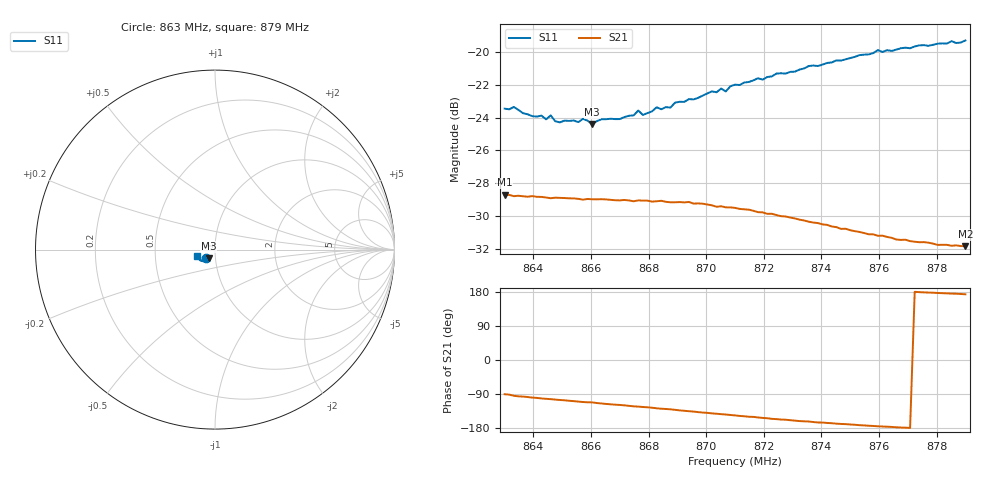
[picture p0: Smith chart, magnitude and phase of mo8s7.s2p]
# HZ S RI R 50
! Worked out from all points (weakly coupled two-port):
!   101 points, 863 MHz to 879 MHz, reference 50 ohm
!   highest |S21| = -28.70 dB at 863 MHz (marker M1); lowest = -31.8 dB at 879 MHz (marker M2)
!   lowest |S11| = -24.4 dB at 866.04 MHz (marker M3), VSWR 1.13, Z = 46.3 - j4.5 ohm
!   |S11| at or under -10 dB: start of sweep to end of sweep
!   S12 and S22 are empty: the file has one direction only
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8.63e8  -0.0476 -0.0476  -0.000221 -0.0367  0 0  0 0
8.6332e8  -0.0501 -0.046  -0.0028 -0.0362  0 0  0 0
8.6364e8  -0.0467 -0.0454  -0.00411 -0.0361  0 0  0 0
8.6444e8  -0.0427 -0.0455  -0.00775 -0.0352  0 0  0 0
8.646e8  -0.0453 -0.0454  -0.00824 -0.0349  0 0  0 0
8.6492e8  -0.0411 -0.0451  -0.0096 -0.0346  0 0  0 0
8.6556e8  -0.0388 -0.0473  -0.0121 -0.0336  0 0  0 0
8.6572e8  -0.0387 -0.0492  -0.0126 -0.0331  0 0  0 0
8.6604e8  -0.036 -0.0484  -0.0132 -0.033  0 0  0 0
8.6636e8  -0.0383 -0.0493  -0.0148 -0.0323  0 0  0 0
8.6748e8  -0.0358 -0.0532  -0.0187 -0.0296  0 0  0 0
8.6764e8  -0.0377 -0.0547  -0.0192 -0.0296  0 0  0 0
8.678e8  -0.0361 -0.0533  -0.0197 -0.0292  0 0  0 0
8.6828e8  -0.0371 -0.0569  -0.0213 -0.0278  0 0  0 0
8.6844e8  -0.0363 -0.0563  -0.0219 -0.0275  0 0  0 0
8.7052e8  -0.044 -0.0638  -0.027 -0.0204  0 0  0 0
8.7068e8  -0.0427 -0.0628  -0.0271 -0.0198  0 0  0 0
8.71e8  -0.0464 -0.0647  -0.0278 -0.0186  0 0  0 0
8.7372e8  -0.0622 -0.0666  -0.029 -0.00847  0 0  0 0
8.7596e8  -0.081 -0.0613  -0.0274 -0.00244  0 0  0 0
8.7644e8  -0.0838 -0.0563  -0.0271 -0.00159  0 0  0 0
8.79e8  -0.1022 -0.037  -0.0254 0.00293  0 0  0 0
